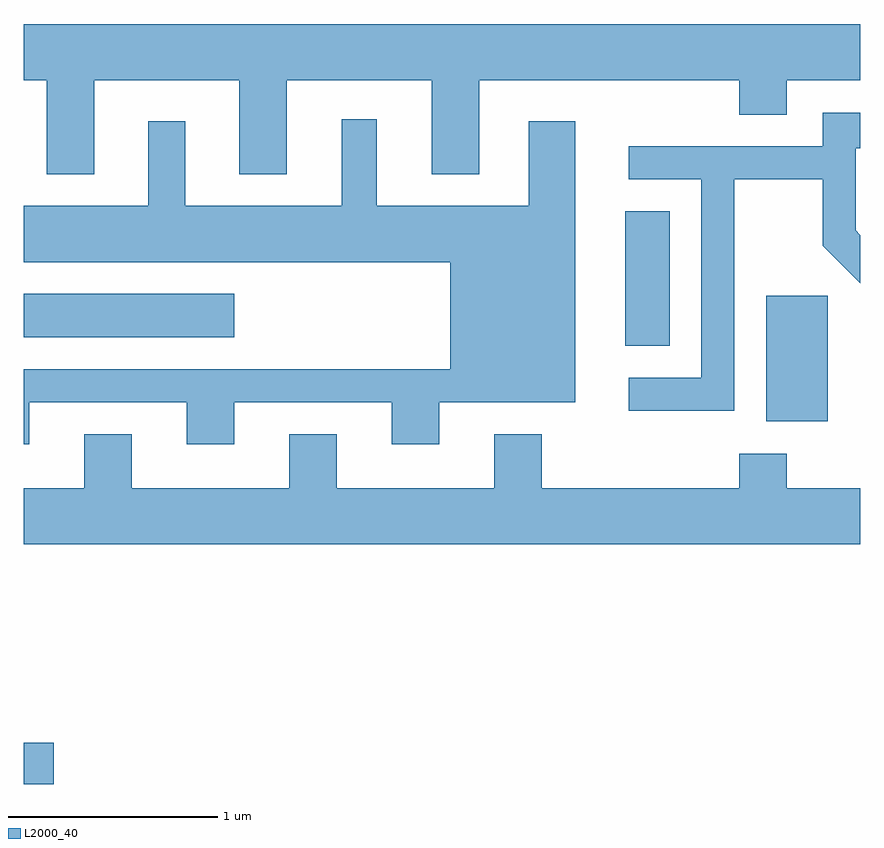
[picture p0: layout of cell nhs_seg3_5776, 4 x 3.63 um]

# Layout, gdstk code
import gdstk
lib = gdstk.Library(unit=1e-6, precision=1e-09)
def R(c, l, rs):  # rectangles x0, y0, x1, y1
    for r in rs: c.add(gdstk.rectangle(r[:2], r[2:], *l))
def P(c, l, *ps):  # polygons
    for p in ps: c.add(gdstk.Polygon(p, *l))
L2000_40 = (2000, 40)

nhs_seg3_5776 = lib.new_cell('nhs_seg3_5776')
R(nhs_seg3_5776, L2000_40, [(355.611,1115.991,355.754,1116.189), (359.161,1117.726,359.454,1118.324), (358.486,1118.086,358.699,1118.729), (355.611,1118.126,356.619,1118.334)])
P(nhs_seg3_5776, L2000_40, [(355.949,1119.356),(356.641,1119.356),(356.641,1118.906),(356.869,1118.906),(356.869,1119.356),(357.561,1119.356),(357.561,1118.906),(357.789,1118.906),(357.789,1119.356),(359.031,1119.356),(359.031,1119.191),(359.259,1119.191),(359.259,1119.356),(359.611,1119.356),(359.611,1119.624),(355.611,1119.624),(355.611,1119.356),(355.721,1119.356),(355.721,1118.906),(355.949,1118.906)],
  [(359.009,1118.881),(359.431,1118.881),(359.431,1118.564),(359.611,1118.384),(359.611,1118.615),(359.589,1118.637),(359.589,1119.031),(359.611,1119.031),(359.611,1119.199),(359.431,1119.199),(359.431,1119.039),(358.503,1119.039),(358.503,1118.881),(358.851,1118.881),(358.851,1117.934),(358.503,1117.934),(358.503,1117.776),(359.009,1117.776)],
  [(355.639,1117.816),(356.391,1117.816),(356.391,1117.616),(356.619,1117.616),(356.619,1117.816),(357.371,1117.816),(357.371,1117.616),(357.599,1117.616),(357.599,1117.816),(358.249,1117.816),(358.249,1119.159),(358.026,1119.159),(358.026,1118.754),(357.299,1118.754),(357.299,1119.168),(357.131,1119.168),(357.131,1118.754),(356.384,1118.754),(356.384,1119.159),(356.206,1119.159),(356.206,1118.754),(355.611,1118.754),(355.611,1118.486),(357.651,1118.486),(357.651,1117.974),(355.611,1117.974),(355.611,1117.616),(355.639,1117.616)],
  [(359.611,1117.404),(359.259,1117.404),(359.259,1117.569),(359.031,1117.569),(359.031,1117.404),(358.089,1117.404),(358.089,1117.664),(357.861,1117.664),(357.861,1117.404),(357.109,1117.404),(357.109,1117.664),(356.881,1117.664),(356.881,1117.404),(356.129,1117.404),(356.129,1117.664),(355.901,1117.664),(355.901,1117.404),(355.611,1117.404),(355.611,1117.136),(359.611,1117.136)])

lib.write_gds('nhs_seg3_5776.gds')
